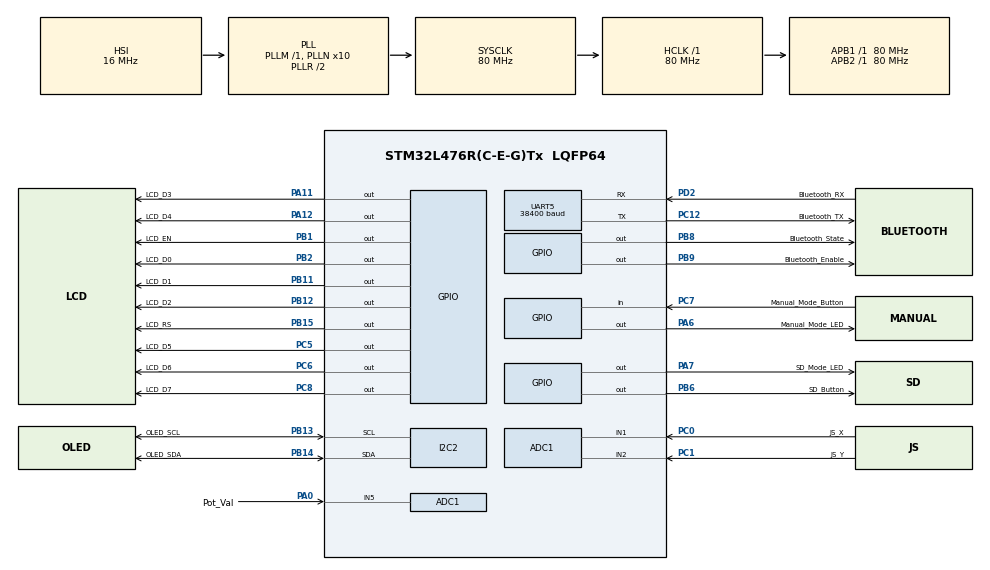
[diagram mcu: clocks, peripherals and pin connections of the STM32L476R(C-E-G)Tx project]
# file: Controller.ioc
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ADC1.Channel-1\#ChannelRegularConversion=ADC_CHANNEL_1
ADC1.Channel-2\#ChannelRegularConversion=ADC_CHANNEL_2
ADC1.Channel-3\#ChannelRegularConversion=ADC_CHANNEL_5
ADC1.ContinuousConvMode=ENABLE
ADC1.DMAContinuousRequests=ENABLE
ADC1.EnableAnalogWatchDog3=false
ADC1.NbrOfConversion=3
ADC1.NbrOfConversionFlag=1
ADC1.OffsetNumber-1\#ChannelRegularConversion=ADC_OFFSET_NONE
ADC1.OffsetNumber-2\#ChannelRegularConversion=ADC_OFFSET_NONE
ADC1.OffsetNumber-3\#ChannelRegularConversion=ADC_OFFSET_NONE
ADC1.Rank-1\#ChannelRegularConversion=1
ADC1.Rank-2\#ChannelRegularConversion=2
ADC1.Rank-3\#ChannelRegularConversion=3
ADC1.SamplingTime-1\#ChannelRegularConversion=ADC_SAMPLETIME_92CYCLES_5
ADC1.SamplingTime-2\#ChannelRegularConversion=ADC_SAMPLETIME_92CYCLES_5
ADC1.SamplingTime-3\#ChannelRegularConversion=ADC_SAMPLETIME_92CYCLES_5
ADC1.master=1
Dma.ADC1.0.Direction=DMA_PERIPH_TO_MEMORY
Dma.ADC1.0.Instance=DMA1_Channel1
Dma.ADC1.0.MemDataAlignment=DMA_MDATAALIGN_HALFWORD
Dma.ADC1.0.MemInc=DMA_MINC_ENABLE
Dma.ADC1.0.Mode=DMA_CIRCULAR
Dma.ADC1.0.PeriphDataAlignment=DMA_PDATAALIGN_HALFWORD
Dma.ADC1.0.PeriphInc=DMA_PINC_DISABLE
Dma.ADC1.0.Priority=DMA_PRIORITY_LOW
Dma.Request0=ADC1
Dma.Request1=UART5_TX
Dma.Request2=UART5_RX
Dma.UART5_RX.2.Direction=DMA_PERIPH_TO_MEMORY
Dma.UART5_RX.2.Instance=DMA2_Channel2
Dma.UART5_RX.2.MemDataAlignment=DMA_MDATAALIGN_BYTE
Dma.UART5_RX.2.MemInc=DMA_MINC_ENABLE
Dma.UART5_RX.2.Mode=DMA_NORMAL
Dma.UART5_RX.2.PeriphDataAlignment=DMA_PDATAALIGN_BYTE
Dma.UART5_RX.2.PeriphInc=DMA_PINC_DISABLE
Dma.UART5_RX.2.Priority=DMA_PRIORITY_LOW
Dma.UART5_TX.1.Direction=DMA_MEMORY_TO_PERIPH
Dma.UART5_TX.1.Instance=DMA2_Channel1
Dma.UART5_TX.1.MemDataAlignment=DMA_MDATAALIGN_BYTE
Dma.UART5_TX.1.MemInc=DMA_MINC_ENABLE
Dma.UART5_TX.1.Mode=DMA_NORMAL
Dma.UART5_TX.1.PeriphDataAlignment=DMA_PDATAALIGN_BYTE
Dma.UART5_TX.1.PeriphInc=DMA_PINC_DISABLE
Dma.UART5_TX.1.Priority=DMA_PRIORITY_LOW
I2C2.Timing=0x10D19CE4
Mcu.Family=STM32L4
Mcu.Name=STM32L476R(C-E-G)Tx
Mcu.Package=LQFP64
NVIC.ADC1_2_IRQn=true\:0\:0\:false\:false\:true\:true\:true\:true
NVIC.DMA1_Channel1_IRQn=true\:0\:0\:false\:false\:true\:false\:true\:true
NVIC.DMA2_Channel1_IRQn=true\:0\:0\:false\:false\:true\:false\:true\:true
NVIC.DMA2_Channel2_IRQn=true\:0\:0\:false\:false\:true\:false\:true\:true
NVIC.I2C2_ER_IRQn=true\:0\:0\:false\:false\:true\:true\:true\:true
NVIC.I2C2_EV_IRQn=true\:0\:0\:false\:false\:true\:true\:true\:true
NVIC.PriorityGroup=NVIC_PRIORITYGROUP_4
NVIC.UART5_IRQn=true\:0\:0\:false\:false\:true\:true\:true\:true
PA0.GPIO_Label=Pot_Val
PA0.Signal=ADCx_IN5
PA11.GPIO_Label=LCD_D3
PA11.Signal=GPIO_Output
PA12.GPIO_Label=LCD_D4
PA12.Signal=GPIO_Output
PA6.GPIO_Label=Manual_Mode_LED
PA6.Signal=GPIO_Output
PA7.GPIO_Label=SD_Mode_LED
PA7.Signal=GPIO_Output
PB1.GPIO_Label=LCD_EN
PB1.Signal=GPIO_Output
PB11.GPIO_Label=LCD_D1
PB11.Signal=GPIO_Output
PB12.GPIO_Label=LCD_D2
PB12.Signal=GPIO_Output
PB13.GPIO_Label=OLED_SCL
PB13.Mode=I2C
PB13.Signal=I2C2_SCL
PB14.GPIO_Label=OLED_SDA
PB14.Mode=I2C
PB14.Signal=I2C2_SDA
PB15.GPIO_Label=LCD_RS
PB15.Signal=GPIO_Output
PB2.GPIO_Label=LCD_D0
PB2.Signal=GPIO_Output
PB6.GPIO_Label=SD_Button
PB6.Signal=GPIO_Output
PB8.GPIO_Label=Bluetooth_State
PB8.Signal=GPIO_Output
PB9.GPIO_Label=Bluetooth_Enable
PB9.Signal=GPIO_Output
PC0.GPIO_Label=JS_X
PC0.Signal=ADCx_IN1
PC1.GPIO_Label=JS_Y
PC1.Signal=ADCx_IN2
PC12.GPIO_Label=Bluetooth_TX
PC12.Mode=Asynchronous
PC12.Signal=UART5_TX
PC5.GPIO_Label=LCD_D5
PC5.Signal=GPIO_Output
PC6.GPIO_Label=LCD_D6
PC6.Signal=GPIO_Output
PC7.GPIO_Label=Manual_Mode_Button
PC7.Signal=GPIO_Input
PC8.GPIO_Label=LCD_D7
PC8.Signal=GPIO_Output
PD2.GPIO_Label=Bluetooth_RX
PD2.Mode=Asynchronous
PD2.Signal=UART5_RX
ProjectManager.HeapSize=0x200
ProjectManager.StackSize=0x400
ProjectManager.TargetToolchain=STM32CubeIDE
RCC.ADCFreq_Value=64000000
RCC.AHBFreq_Value=80000000
RCC.APB1Freq_Value=80000000
RCC.APB1TimFreq_Value=80000000
RCC.APB2Freq_Value=80000000
RCC.APB2TimFreq_Value=80000000
RCC.CortexFreq_Value=80000000
RCC.HCLKFreq_Value=80000000
RCC.HSE_VALUE=8000000
RCC.HSI_VALUE=16000000
RCC.LSE_VALUE=32768
RCC.MSI_VALUE=4000000
RCC.PLLN=10
RCC.PLLSourceVirtual=RCC_PLLSOURCE_HSI
RCC.PREFETCH_ENABLE=1
RCC.SYSCLKFreq_VALUE=80000000
RCC.SYSCLKSource=RCC_SYSCLKSOURCE_PLLCLK
RCC.USBFreq_Value=64000000
RCC.VCOOutputFreq_Value=160000000
SH.ADCx_IN1.0=ADC1_IN1,IN1-Single-Ended
SH.ADCx_IN2.0=ADC1_IN2,IN2-Single-Ended
SH.ADCx_IN5.0=ADC1_IN5,IN5-Single-Ended
UART5.BaudRate=38400
UART5.WordLength=WORDLENGTH_8B
VP_TIM2_VS_ClockSourceINT.Mode=Internal
board=NUCLEO-L476RG

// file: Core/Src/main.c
/* USER CODE BEGIN Header */
/**
  ******************************************************************************
  * @file           : main.c
  * @brief          : Main program body
  ******************************************************************************
  * @attention
  *
  * Copyright (c) 2025 STMicroelectronics.
  * All rights reserved.
  *
  * This software is licensed under terms that can be found in the LICENSE file
  * in the root directory of this software component.
  * If no LICENSE file comes with this software, it is provided AS-IS.
  *
  ******************************************************************************
  */
/* USER CODE END Header */
#include "main.h"

ADC_HandleTypeDef hadc1;
DMA_HandleTypeDef hdma_adc1;

I2C_HandleTypeDef hi2c2;

TIM_HandleTypeDef htim2;

UART_HandleTypeDef huart5;
DMA_HandleTypeDef hdma_uart5_tx;
DMA_HandleTypeDef hdma_uart5_rx;

/* USER CODE BEGIN PV */
#define BUFFER_SIZE 64
#define DELAY 100

// UART //
//char atCommand[] = "AT+LINK=98D3,02,98689\r\n";
char atCommand[] = "AT+BIND?\r\n";
char btRxLine[BT_RX_BUFFER_SIZE];
uint8_t TxBuffer[BT_TX_BUFFER_SIZE];
uint8_t RxBuffer[BT_RX_BUFFER_SIZE];

// ADC //
uint32_t adcBuffer[3]; // 0 = JS_X, 1 = JS_Y, 2 = speed_pot
uint32_t joystickX;
uint32_t joystickY;
uint32_t speedPotValue;

// I2C //

// LCD DISPLAY //
char displayBuffer[BUFFER_SIZE];

/* USER CODE END PV */

void SystemClock_Config(void);
static void MX_GPIO_Init(void);
static void MX_DMA_Init(void);
static void MX_ADC1_Init(void);
static void MX_I2C2_Init(void);
static void MX_TIM2_Init(void);
static void MX_UART5_Init(void);

int main(void)
{

  /* MCU Configuration--------------------------------------------------------*/

  /* Reset of all peripherals, Initializes the Flash interface and the Systick. */
  HAL_Init();

  /* Configure the system clock */
  SystemClock_Config();

  /* Initialize all configured peripherals */
  MX_GPIO_Init();
  MX_DMA_Init();
  MX_ADC1_Init();
  MX_I2C2_Init();
  MX_TIM2_Init();
  MX_UART5_Init();
  /* USER CODE BEGIN 2 */
  LCD_Init();
  LCD_Clear();
  Create_Custom_Characters();

  HAL_Delay(5000);

  // UART //
  BT_StartReceiveDMA(&huart5);
  rxReadIndex = 0;

  BT_SendString(&huart5, atCommand);
  HAL_Delay(100);
  if (BT_ReadLine(btRxLine, sizeof(btRxLine)) > 0){
	  printf("HC-05 replied: %s\n", btRxLine);
  }
  HAL_Delay(100);

  // ADC //
  HAL_ADC_Start_DMA(&hadc1, adcBuffer, 3);

  // I2C //

  // GPIO //
  LCD_Init();
  LCD_Clear();
  Create_Custom_Characters();

  /* USER CODE END 2 */

  /* Infinite loop */
  while (1)
  {

    /* USER CODE BEGIN 3 */
	  joystickX = adcBuffer[0];
	  joystickY = adcBuffer[1];
	  speedPotValue = adcBuffer[2];

	  //BT_SendString(&huart5, "TX Alive!\r\n"); // Sending string format
	  BT_SendJoystickData(&huart5,
	                      joystickX,
	                      joystickY,
	                      speedPotValue);

	  HAL_Delay(DELAY);

	  rxReadIndex = 0;

		BT_SendString(&huart5, atCommand);
		HAL_Delay(100);
		if (BT_ReadLine(btRxLine, sizeof(btRxLine)) > 0){
		  printf("HC-05 replied: %s\n", btRxLine);
		}
		HAL_Delay(100);

  }
  /* USER CODE END 3 */
}

void SystemClock_Config(void)
{
  RCC_OscInitTypeDef RCC_OscInitStruct = {0};
  RCC_ClkInitTypeDef RCC_ClkInitStruct = {0};

  /** Configure the main internal regulator output voltage
  */
  if (HAL_PWREx_ControlVoltageScaling(PWR_REGULATOR_VOLTAGE_SCALE1) != HAL_OK)
  {
    Error_Handler();
  }

  /** Initializes the RCC Oscillators according to the specified parameters
  * in the RCC_OscInitTypeDef structure.
  */
  RCC_OscInitStruct.OscillatorType = RCC_OSCILLATORTYPE_HSI;
  RCC_OscInitStruct.HSIState = RCC_HSI_ON;
  RCC_OscInitStruct.HSICalibrationValue = RCC_HSICALIBRATION_DEFAULT;
  RCC_OscInitStruct.PLL.PLLState = RCC_PLL_ON;
  RCC_OscInitStruct.PLL.PLLSource = RCC_PLLSOURCE_HSI;
  RCC_OscInitStruct.PLL.PLLM = 1;
  RCC_OscInitStruct.PLL.PLLN = 10;
  RCC_OscInitStruct.PLL.PLLP = RCC_PLLP_DIV7;
  RCC_OscInitStruct.PLL.PLLQ = RCC_PLLQ_DIV2;
  RCC_OscInitStruct.PLL.PLLR = RCC_PLLR_DIV2;
  if (HAL_RCC_OscConfig(&RCC_OscInitStruct) != HAL_OK)
  {
    Error_Handler();
  }

  /** Initializes the CPU, AHB and APB buses clocks
  */
  RCC_ClkInitStruct.ClockType = RCC_CLOCKTYPE_HCLK|RCC_CLOCKTYPE_SYSCLK
                              |RCC_CLOCKTYPE_PCLK1|RCC_CLOCKTYPE_PCLK2;
  RCC_ClkInitStruct.SYSCLKSource = RCC_SYSCLKSOURCE_PLLCLK;
  RCC_ClkInitStruct.AHBCLKDivider = RCC_SYSCLK_DIV1;
  RCC_ClkInitStruct.APB1CLKDivider = RCC_HCLK_DIV1;
  RCC_ClkInitStruct.APB2CLKDivider = RCC_HCLK_DIV1;

  if (HAL_RCC_ClockConfig(&RCC_ClkInitStruct, FLASH_LATENCY_4) != HAL_OK)
  {
    Error_Handler();
  }
}

static void MX_ADC1_Init(void)
{

  ADC_MultiModeTypeDef multimode = {0};
  ADC_ChannelConfTypeDef sConfig = {0};

  /** Common config
  */
  hadc1.Instance = ADC1;
  hadc1.Init.ClockPrescaler = ADC_CLOCK_ASYNC_DIV1;
  hadc1.Init.Resolution = ADC_RESOLUTION_12B;
  hadc1.Init.DataAlign = ADC_DATAALIGN_RIGHT;
  hadc1.Init.ScanConvMode = ADC_SCAN_ENABLE;
  hadc1.Init.EOCSelection = ADC_EOC_SINGLE_CONV;
  hadc1.Init.LowPowerAutoWait = DISABLE;
  hadc1.Init.ContinuousConvMode = ENABLE;
  hadc1.Init.NbrOfConversion = 3;
  hadc1.Init.DiscontinuousConvMode = DISABLE;
  hadc1.Init.ExternalTrigConv = ADC_SOFTWARE_START;
  hadc1.Init.ExternalTrigConvEdge = ADC_EXTERNALTRIGCONVEDGE_NONE;
  hadc1.Init.DMAContinuousRequests = ENABLE;
  hadc1.Init.Overrun = ADC_OVR_DATA_PRESERVED;
  hadc1.Init.OversamplingMode = DISABLE;
  if (HAL_ADC_Init(&hadc1) != HAL_OK)
  {
    Error_Handler();
  }

  /** Configure the ADC multi-mode
  */
  multimode.Mode = ADC_MODE_INDEPENDENT;
  if (HAL_ADCEx_MultiModeConfigChannel(&hadc1, &multimode) != HAL_OK)
  {
    Error_Handler();
  }

  /** Configure Regular Channel
  */
  sConfig.Channel = ADC_CHANNEL_1;
  sConfig.Rank = ADC_REGULAR_RANK_1;
  sConfig.SamplingTime = ADC_SAMPLETIME_92CYCLES_5;
  sConfig.SingleDiff = ADC_SINGLE_ENDED;
  sConfig.OffsetNumber = ADC_OFFSET_NONE;
  sConfig.Offset = 0;
  if (HAL_ADC_ConfigChannel(&hadc1, &sConfig) != HAL_OK)
  {
    Error_Handler();
  }

  /** Configure Regular Channel
  */
  sConfig.Channel = ADC_CHANNEL_2;
  sConfig.Rank = ADC_REGULAR_RANK_2;
  if (HAL_ADC_ConfigChannel(&hadc1, &sConfig) != HAL_OK)
  {
    Error_Handler();
  }

  /** Configure Regular Channel
  */
  sConfig.Channel = ADC_CHANNEL_5;
  sConfig.Rank = ADC_REGULAR_RANK_3;
  if (HAL_ADC_ConfigChannel(&hadc1, &sConfig) != HAL_OK)
  {
    Error_Handler();
  }

}

static void MX_I2C2_Init(void)
{

  hi2c2.Instance = I2C2;
  hi2c2.Init.Timing = 0x10D19CE4;
  hi2c2.Init.OwnAddress1 = 0;
  hi2c2.Init.AddressingMode = I2C_ADDRESSINGMODE_7BIT;
  hi2c2.Init.DualAddressMode = I2C_DUALADDRESS_DISABLE;
  hi2c2.Init.OwnAddress2 = 0;
  hi2c2.Init.OwnAddress2Masks = I2C_OA2_NOMASK;
  hi2c2.Init.GeneralCallMode = I2C_GENERALCALL_DISABLE;
  hi2c2.Init.NoStretchMode = I2C_NOSTRETCH_DISABLE;
  if (HAL_I2C_Init(&hi2c2) != HAL_OK)
  {
    Error_Handler();
  }

  /** Configure Analogue filter
  */
  if (HAL_I2CEx_ConfigAnalogFilter(&hi2c2, I2C_ANALOGFILTER_ENABLE) != HAL_OK)
  {
    Error_Handler();
  }

  /** Configure Digital filter
  */
  if (HAL_I2CEx_ConfigDigitalFilter(&hi2c2, 0) != HAL_OK)
  {
    Error_Handler();
  }

}

static void MX_TIM2_Init(void)
{

  TIM_ClockConfigTypeDef sClockSourceConfig = {0};
  TIM_MasterConfigTypeDef sMasterConfig = {0};

  htim2.Instance = TIM2;
  htim2.Init.Prescaler = 0;
  htim2.Init.CounterMode = TIM_COUNTERMODE_UP;
  htim2.Init.Period = 4294967295;
  htim2.Init.ClockDivision = TIM_CLOCKDIVISION_DIV1;
  htim2.Init.AutoReloadPreload = TIM_AUTORELOAD_PRELOAD_DISABLE;
  if (HAL_TIM_Base_Init(&htim2) != HAL_OK)
  {
    Error_Handler();
  }
  sClockSourceConfig.ClockSource = TIM_CLOCKSOURCE_INTERNAL;
  if (HAL_TIM_ConfigClockSource(&htim2, &sClockSourceConfig) != HAL_OK)
  {
    Error_Handler();
  }
  sMasterConfig.MasterOutputTrigger = TIM_TRGO_RESET;
  sMasterConfig.MasterSlaveMode = TIM_MASTERSLAVEMODE_DISABLE;
  if (HAL_TIMEx_MasterConfigSynchronization(&htim2, &sMasterConfig) != HAL_OK)
  {
    Error_Handler();
  }

}

static void MX_UART5_Init(void)
{

  huart5.Instance = UART5;
  huart5.Init.BaudRate = 38400;
  huart5.Init.WordLength = UART_WORDLENGTH_8B;
  huart5.Init.StopBits = UART_STOPBITS_1;
  huart5.Init.Parity = UART_PARITY_NONE;
  huart5.Init.Mode = UART_MODE_TX_RX;
  huart5.Init.HwFlowCtl = UART_HWCONTROL_NONE;
  huart5.Init.OverSampling = UART_OVERSAMPLING_16;
  huart5.Init.OneBitSampling = UART_ONE_BIT_SAMPLE_DISABLE;
  huart5.AdvancedInit.AdvFeatureInit = UART_ADVFEATURE_NO_INIT;
  if (HAL_UART_Init(&huart5) != HAL_OK)
  {
    Error_Handler();
  }

}

static void MX_DMA_Init(void)
{

  /* DMA controller clock enable */
  __HAL_RCC_DMA1_CLK_ENABLE();
  __HAL_RCC_DMA2_CLK_ENABLE();

  /* DMA interrupt init */
  /* DMA1_Channel1_IRQn interrupt configuration */
  HAL_NVIC_SetPriority(DMA1_Channel1_IRQn, 0, 0);
  HAL_NVIC_EnableIRQ(DMA1_Channel1_IRQn);
  /* DMA2_Channel1_IRQn interrupt configuration */
  HAL_NVIC_SetPriority(DMA2_Channel1_IRQn, 0, 0);
  HAL_NVIC_EnableIRQ(DMA2_Channel1_IRQn);
  /* DMA2_Channel2_IRQn interrupt configuration */
  HAL_NVIC_SetPriority(DMA2_Channel2_IRQn, 0, 0);
  HAL_NVIC_EnableIRQ(DMA2_Channel2_IRQn);

}

static void MX_GPIO_Init(void)
{
  GPIO_InitTypeDef GPIO_InitStruct = {0};

  /* GPIO Ports Clock Enable */
  __HAL_RCC_GPIOC_CLK_ENABLE();
  __HAL_RCC_GPIOA_CLK_ENABLE();
  __HAL_RCC_GPIOB_CLK_ENABLE();
  __HAL_RCC_GPIOD_CLK_ENABLE();

  /*Configure GPIO pin Output Level */
  HAL_GPIO_WritePin(GPIOA, Manual_Mode_LED_Pin|SD_Mode_LED_Pin|LCD_D3_Pin|LCD_D4_Pin, GPIO_PIN_RESET);

  /*Configure GPIO pin Output Level */
  HAL_GPIO_WritePin(GPIOC, LCD_D5_Pin|LCD_D6_Pin|LCD_D7_Pin, GPIO_PIN_RESET);

  /*Configure GPIO pin Output Level */
  HAL_GPIO_WritePin(GPIOB, LCD_EN_Pin|LCD_D0_Pin|LCD_D1_Pin|LCD_D2_Pin
                          |LCD_RS_Pin|SD_Button_Pin|Bluetooth_State_Pin|Bluetooth_Enable_Pin, GPIO_PIN_RESET);

  /*Configure GPIO pins : Manual_Mode_LED_Pin SD_Mode_LED_Pin LCD_D3_Pin LCD_D4_Pin */
  GPIO_InitStruct.Pin = Manual_Mode_LED_Pin|SD_Mode_LED_Pin|LCD_D3_Pin|LCD_D4_Pin;
  GPIO_InitStruct.Mode = GPIO_MODE_OUTPUT_PP;
  GPIO_InitStruct.Pull = GPIO_NOPULL;
  GPIO_InitStruct.Speed = GPIO_SPEED_FREQ_LOW;
  HAL_GPIO_Init(GPIOA, &GPIO_InitStruct);

  /*Configure GPIO pins : LCD_D5_Pin LCD_D6_Pin LCD_D7_Pin */
  GPIO_InitStruct.Pin = LCD_D5_Pin|LCD_D6_Pin|LCD_D7_Pin;
  GPIO_InitStruct.Mode = GPIO_MODE_OUTPUT_PP;
  GPIO_InitStruct.Pull = GPIO_NOPULL;
  GPIO_InitStruct.Speed = GPIO_SPEED_FREQ_LOW;
  HAL_GPIO_Init(GPIOC, &GPIO_InitStruct);

  /*Configure GPIO pins : LCD_EN_Pin LCD_D0_Pin LCD_D1_Pin LCD_D2_Pin
                           LCD_RS_Pin SD_Button_Pin Bluetooth_State_Pin Bluetooth_Enable_Pin */
  GPIO_InitStruct.Pin = LCD_EN_Pin|LCD_D0_Pin|LCD_D1_Pin|LCD_D2_Pin
                          |LCD_RS_Pin|SD_Button_Pin|Bluetooth_State_Pin|Bluetooth_Enable_Pin;
  GPIO_InitStruct.Mode = GPIO_MODE_OUTPUT_PP;
  GPIO_InitStruct.Pull = GPIO_NOPULL;
  GPIO_InitStruct.Speed = GPIO_SPEED_FREQ_LOW;
  HAL_GPIO_Init(GPIOB, &GPIO_InitStruct);

  /*Configure GPIO pin : Manual_Mode_Button_Pin */
  GPIO_InitStruct.Pin = Manual_Mode_Button_Pin;
  GPIO_InitStruct.Mode = GPIO_MODE_INPUT;
  GPIO_InitStruct.Pull = GPIO_NOPULL;
  HAL_GPIO_Init(Manual_Mode_Button_GPIO_Port, &GPIO_InitStruct);

}

/* USER CODE BEGIN 4 */

/*
 * @brief
 *
 * @param *huart UART port
 */
void HAL_UART_TxCpltCallback(UART_HandleTypeDef *huart)
{
  if(huart->Instance == UART5)
  {
    // Process received data in RxBuffer
    // Restart DMA reception
    HAL_UART_Transmit_DMA(&huart5, RxBuffer, BT_RX_BUFFER_SIZE);
  }
}

/*
 * @brief
 *
 * @param *huart UART port
 */
void HAL_UART_RxCpltCallback(UART_HandleTypeDef *huart)
{
  if(huart->Instance == UART5)
  {
    // Process received data in RxBuffer
    // Restart DMA reception
    HAL_UART_Receive_DMA(&huart5, RxBuffer, BT_RX_BUFFER_SIZE);
  }
}

/* USER CODE END 4 */

void Error_Handler(void)
{
  __disable_irq();
  while (1)
  {
  }
}
